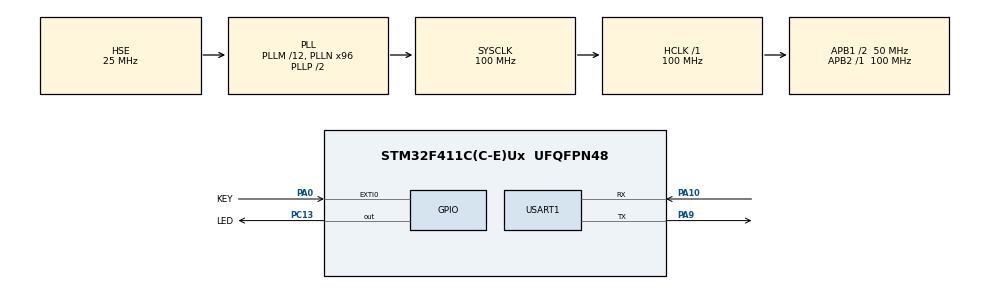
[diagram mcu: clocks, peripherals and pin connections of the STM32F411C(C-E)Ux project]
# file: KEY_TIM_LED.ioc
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FREERTOS.Queues01=KEY_Queue,16,uint16_t,0,Dynamic,NULL,NULL;LED_Queue,16,uint16_t,0,Dynamic,NULL,NULL
FREERTOS.Tasks01=KEYTask,32,128,Key_task,Default,NULL,Dynamic,NULL,NULL;LEDTask,24,128,Ledtask,Default,NULL,Dynamic,NULL,NULL
Mcu.Family=STM32F4
Mcu.Name=STM32F411C(C-E)Ux
Mcu.Package=UFQFPN48
NVIC.EXTI0_IRQn=true\:5\:0\:true\:false\:true\:true\:true\:true\:true
NVIC.PriorityGroup=NVIC_PRIORITYGROUP_4
NVIC.TIM1_UP_TIM10_IRQn=true\:15\:0\:false\:false\:true\:false\:false\:true\:true
NVIC.TIM2_IRQn=true\:5\:0\:true\:false\:true\:true\:true\:true\:true
NVIC.TimeBase=TIM1_UP_TIM10_IRQn
NVIC.TimeBaseIP=TIM1
PA0-WKUP.GPIO_Label=KEY
PA0-WKUP.GPIO_ModeDefaultEXTI=GPIO_MODE_IT_FALLING
PA0-WKUP.GPIO_PuPd=GPIO_PULLUP
PA0-WKUP.Signal=GPXTI0
PA10.Mode=Asynchronous
PA10.Signal=USART1_RX
PA13.Mode=Serial_Wire
PA13.Signal=SYS_JTMS-SWDIO
PA14.Mode=Serial_Wire
PA14.Signal=SYS_JTCK-SWCLK
PA9.Mode=Asynchronous
PA9.Signal=USART1_TX
PC13-ANTI_TAMP.GPIO_Label=LED
PC13-ANTI_TAMP.PinState=GPIO_PIN_SET
PC13-ANTI_TAMP.Signal=GPIO_Output
PH0\ -\ OSC_IN.Mode=HSE-External-Oscillator
PH0\ -\ OSC_IN.Signal=RCC_OSC_IN
PH1\ -\ OSC_OUT.Mode=HSE-External-Oscillator
PH1\ -\ OSC_OUT.Signal=RCC_OSC_OUT
ProjectManager.HeapSize=0x200
ProjectManager.StackSize=0x400
ProjectManager.TargetToolchain=MDK-ARM V5.32
RCC.48MHZClocksFreq_Value=50000000
RCC.AHBFreq_Value=100000000
RCC.APB1CLKDivider=RCC_HCLK_DIV2
RCC.APB1Freq_Value=50000000
RCC.APB1TimFreq_Value=100000000
RCC.APB2Freq_Value=100000000
RCC.APB2TimFreq_Value=100000000
RCC.CortexFreq_Value=100000000
RCC.HCLKFreq_Value=100000000
RCC.HSE_VALUE=25000000
RCC.HSI_VALUE=16000000
RCC.LSE_VALUE=32768
RCC.PLLM=12
RCC.PLLN=96
RCC.PLLSourceVirtual=RCC_PLLSOURCE_HSE
RCC.SYSCLKFreq_VALUE=100000000
RCC.SYSCLKSource=RCC_SYSCLKSOURCE_PLLCLK
RCC.VCOOutputFreq_Value=200000000
TIM2.Period=1000-1
TIM2.Prescaler=10000-1
USART1.VirtualMode=VM_ASYNC
VP_FREERTOS_VS_CMSIS_V2.Mode=CMSIS_V2
VP_SYS_VS_tim1.Mode=TIM1
VP_TIM2_VS_ClockSourceINT.Mode=Internal
board=custom

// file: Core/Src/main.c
/* USER CODE BEGIN Header */
/**
  ******************************************************************************
  * @file           : main.c
  * @brief          : Main program body
  ******************************************************************************
  * @attention
  *
  * Copyright (c) 2026 STMicroelectronics.
  * All rights reserved.
  *
  * This software is licensed under terms that can be found in the LICENSE file
  * in the root directory of this software component.
  * If no LICENSE file comes with this software, it is provided AS-IS.
  *
  ******************************************************************************
  */
/* USER CODE END Header */
#include "main.h"
#include "cmsis_os.h"
#include "tim.h"
#include "usart.h"
#include "gpio.h"

/* USER CODE BEGIN Includes */
#include "bsp_led.h"
/* USER CODE END Includes */

void SystemClock_Config(void);
void MX_FREERTOS_Init(void);

int main(void)
{

  /* MCU Configuration--------------------------------------------------------*/

  /* Reset of all peripherals, Initializes the Flash interface and the Systick. */
  HAL_Init();

  /* Configure the system clock */
  SystemClock_Config();

  /* Initialize all configured peripherals */
  MX_GPIO_Init();
  MX_TIM2_Init();
  MX_USART1_UART_Init();
  /* USER CODE BEGIN 2 */
	log_printf("boot\r\n");          /* 串口能收到 boot 就算打通 */

  /* USER CODE END 2 */

  /* Init scheduler */
  osKernelInitialize();

  /* Call init function for freertos objects (in cmsis_os2.c) */
  MX_FREERTOS_Init();

  /* Start scheduler */
  osKernelStart();

  /* We should never get here as control is now taken by the scheduler */

  /* Infinite loop */
  while (1)
  {

  }
}

void SystemClock_Config(void)
{
  RCC_OscInitTypeDef RCC_OscInitStruct = {0};
  RCC_ClkInitTypeDef RCC_ClkInitStruct = {0};

  /** Configure the main internal regulator output voltage
  */
  __HAL_RCC_PWR_CLK_ENABLE();
  __HAL_PWR_VOLTAGESCALING_CONFIG(PWR_REGULATOR_VOLTAGE_SCALE1);

  /** Initializes the RCC Oscillators according to the specified parameters
  * in the RCC_OscInitTypeDef structure.
  */
  RCC_OscInitStruct.OscillatorType = RCC_OSCILLATORTYPE_HSE;
  RCC_OscInitStruct.HSEState = RCC_HSE_ON;
  RCC_OscInitStruct.PLL.PLLState = RCC_PLL_ON;
  RCC_OscInitStruct.PLL.PLLSource = RCC_PLLSOURCE_HSE;
  RCC_OscInitStruct.PLL.PLLM = 12;
  RCC_OscInitStruct.PLL.PLLN = 96;
  RCC_OscInitStruct.PLL.PLLP = RCC_PLLP_DIV2;
  RCC_OscInitStruct.PLL.PLLQ = 4;
  if (HAL_RCC_OscConfig(&RCC_OscInitStruct) != HAL_OK)
  {
    Error_Handler();
  }

  /** Initializes the CPU, AHB and APB buses clocks
  */
  RCC_ClkInitStruct.ClockType = RCC_CLOCKTYPE_HCLK|RCC_CLOCKTYPE_SYSCLK
                              |RCC_CLOCKTYPE_PCLK1|RCC_CLOCKTYPE_PCLK2;
  RCC_ClkInitStruct.SYSCLKSource = RCC_SYSCLKSOURCE_PLLCLK;
  RCC_ClkInitStruct.AHBCLKDivider = RCC_SYSCLK_DIV1;
  RCC_ClkInitStruct.APB1CLKDivider = RCC_HCLK_DIV2;
  RCC_ClkInitStruct.APB2CLKDivider = RCC_HCLK_DIV1;

  if (HAL_RCC_ClockConfig(&RCC_ClkInitStruct, FLASH_LATENCY_3) != HAL_OK)
  {
    Error_Handler();
  }
}

void HAL_TIM_PeriodElapsedCallback(TIM_HandleTypeDef *htim)
{
  if (htim->Instance == TIM1)
  {
    HAL_IncTick();
  }
  /* USER CODE BEGIN Callback 1 */
  if (htim->Instance == TIM2)          /* TIM1 分支是 CubeMX 生成的 HAL 时基，别动 */
  {
    led_blink_tick_handler();
  }
  /* USER CODE END Callback 1 */
}

void Error_Handler(void)
{
  __disable_irq();
  while (1)
  {
  }
}

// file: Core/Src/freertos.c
/* USER CODE BEGIN Header */
/**
  ******************************************************************************
  * File Name          : freertos.c
  * Description        : Code for freertos applications
  ******************************************************************************
  * @attention
  *
  * Copyright (c) 2026 STMicroelectronics.
  * All rights reserved.
  *
  * This software is licensed under terms that can be found in the LICENSE file
  * in the root directory of this software component.
  * If no LICENSE file comes with this software, it is provided AS-IS.
  *
  ******************************************************************************
  */
/* USER CODE END Header */

#include "FreeRTOS.h"
#include "task.h"
#include "main.h"
#include "cmsis_os.h"

/* USER CODE BEGIN Includes */
#include "usart.h"      /* huart1 */
#include "bsp_key.h"   /* key_event_t */
#include "bsp_led.h"   /* led_state_t */
#include <stdio.h>
#include <stdarg.h>
/* USER CODE END Includes */

/* Definitions for KEYTask */
osThreadId_t KEYTaskHandle;
const osThreadAttr_t KEYTask_attributes = {
  .name = "KEYTask",
  .stack_size = 128 * 4,
  .priority = (osPriority_t) osPriorityAboveNormal,
};
/* Definitions for LEDTask */
osThreadId_t LEDTaskHandle;
const osThreadAttr_t LEDTask_attributes = {
  .name = "LEDTask",
  .stack_size = 128 * 4,
  .priority = (osPriority_t) osPriorityNormal,
};
/* Definitions for KEY_Queue */
osMessageQueueId_t KEY_QueueHandle;
const osMessageQueueAttr_t KEY_Queue_attributes = {
  .name = "KEY_Queue"
};
/* Definitions for LED_Queue */
osMessageQueueId_t LED_QueueHandle;
const osMessageQueueAttr_t LED_Queue_attributes = {
  .name = "LED_Queue"
};

void Key_task(void *argument);
void Ledtask(void *argument);

void MX_FREERTOS_Init(void); /* (MISRA C 2004 rule 8.1) */

void MX_FREERTOS_Init(void) {

  /* Create the queue(s) */
  /* creation of KEY_Queue */
  KEY_QueueHandle = osMessageQueueNew (16, sizeof(key_event_t), &KEY_Queue_attributes);

  /* creation of LED_Queue */
  LED_QueueHandle = osMessageQueueNew (16, sizeof(uint16_t), &LED_Queue_attributes);

  /* Create the thread(s) */
  /* creation of KEYTask */
  KEYTaskHandle = osThreadNew(Key_task, NULL, &KEYTask_attributes);

  /* creation of LEDTask */
  LEDTaskHandle = osThreadNew(Ledtask, NULL, &LEDTask_attributes);

}

void Key_task(void *argument)
{
  /* USER CODE BEGIN Key_task */
  key_task_func(NULL);   /* 任务函数在 bsp_key.c 里实现，方便移植 */

  /* Infinite loop */
  for(;;)
  {
    osDelay(1);
  }
  /* USER CODE END Key_task */
}

void Ledtask(void *argument)
{
  /* USER CODE BEGIN Ledtask */
  led_task_func(NULL);   /* 任务函数在 bsp_led.c 里实现，方便移植 */
  /* Infinite loop */
  for(;;)
  {
    osDelay(1);
  }
  /* USER CODE END Ledtask */
}

/* USER CODE BEGIN Application */

/* 轻量日志：vsnprintf 拼整行再一次性发送（不用 printf 重定向、不依赖 MicroLIB） */
void log_printf(const char *fmt, ...)
{
    char    buf[96];
    va_list ap;
    int     n;

    va_start(ap, fmt);
    n = vsnprintf(buf, sizeof(buf), fmt, ap);
    va_end(ap);

    if (n > 0)
    {
      uint16_t len = (n < (int)sizeof(buf)) ? (uint16_t)n : (uint16_t)(sizeof(buf) - 1);
      (void)HAL_UART_Transmit(&huart1, (uint8_t *)buf, len, 100);
    }
}

/* USER CODE END Application */
